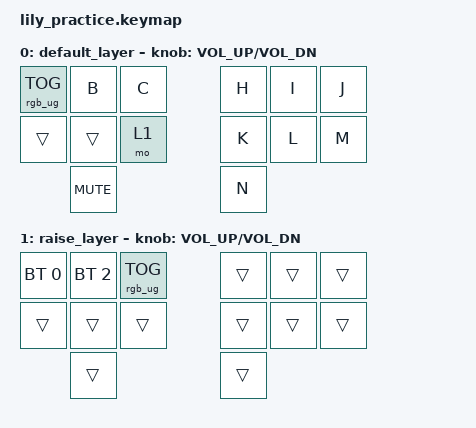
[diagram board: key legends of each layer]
#include <behaviors.dtsi>
#include <dt-bindings/zmk/bt.h>
#include <dt-bindings/zmk/keys.h>
#include <dt-bindings/zmk/rgb.h>


/ {


    keymap {
        compatible = "zmk,keymap";

        default_layer { // Layer 0
            // -------------------------------------
            // |    &rgb_ug RGB_TOG  |  &kp B     |   &kp C   |    H     |     I     |     J     |
            // |    left   |    down    |   right   |    K     |     L     |     M     |
            // |           |            |    mute   |    N     |           |           |

            bindings = <
                 &rgb_ug RGB_TOG    &kp B   &kp C               &kp H    &kp I    &kp J
                 &trans      &trans    &mo 1                    &kp K    &kp L    &kp M
                                       &kp C_MUTE               &kp N
            >;

            sensor-bindings = <&inc_dec_kp C_VOL_UP C_VOL_DN>;
        };

        raise_layer { // Layer 1
            // -------------------------------------
            // |    prev   | play/pause |    next   |    H     |     I     |     J     |
            // |    left   |    down    |   right   |    K     |     L     |     M     |
            // |           |            |    mute   |    N     |           |           |

            bindings = <
                &bt BT_SEL 0  &bt BT_SEL 2  &rgb_ug RGB_TOG    &trans  &trans  &trans
                &trans        &trans        &trans    &trans  &trans  &trans
                                            &trans    &trans
            >;

            sensor-bindings = <&inc_dec_kp C_VOL_UP C_VOL_DN>;
        };
    };
 };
